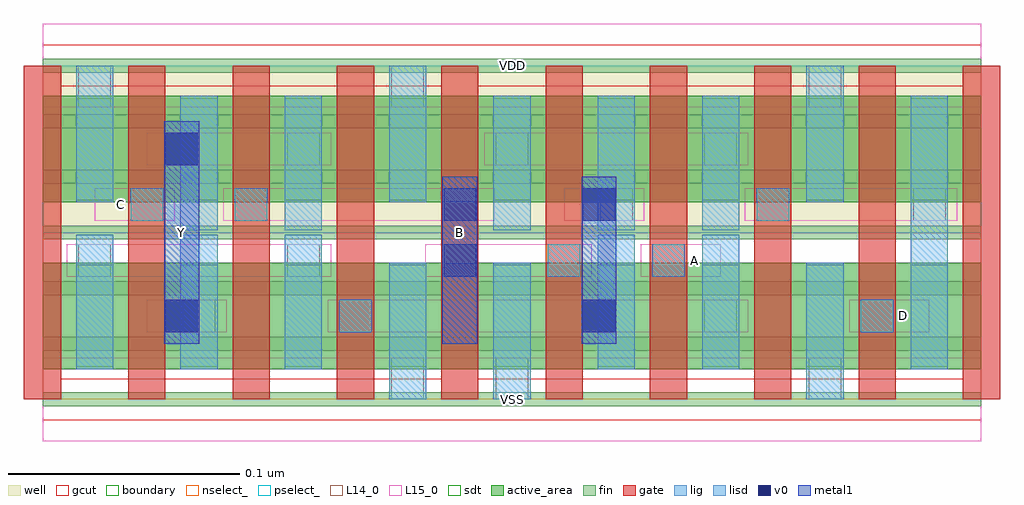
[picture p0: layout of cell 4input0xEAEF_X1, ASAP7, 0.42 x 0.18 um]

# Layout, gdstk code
import gdstk
lib = gdstk.Library(unit=1e-6, precision=2.5e-10)
def R(c, l, rs):  # rectangles x0, y0, x1, y1
    for r in rs: c.add(gdstk.rectangle(r[:2], r[2:], *l))
def A(c, l, x, y, w, h, nx, ny, dx, dy):  # array of equal rectangles
    R(c, l, [(x+i*dx, y+j*dy, x+i*dx+w, y+j*dy+h) for i in range(nx) for j in range(ny)])
def P(c, l, *ps):  # polygons
    for p in ps: c.add(gdstk.Polygon(p, *l))
well = (1, 0)
fin = (2, 0)
gate = (7, 0)
gcut = (10, 0)
active_area = (11, 0)
nselect_ = (12, 0)
pselect_ = (13, 0)
L14_0 = (14, 0)
L15_0 = (15, 0)
lig = (16, 0)
lisd = (17, 0)
v0 = (18, 0)
metal1 = (19, 0)
sdt = (88, 0)
boundary = (100, 0)

c_4input0xeaef_x1 = lib.new_cell('4input0xEAEF_X1')
R(c_4input0xeaef_x1, well, [(0,0.072,0.405,0.144)])
A(c_4input0xeaef_x1, fin, 0, -0.003, 0.405, 0.006, 1, 7, 0, 0.024)
A(c_4input0xeaef_x1, gate, -0.008, 0, 0.016, 0.144, 10, 1, 0.045, 0)
P(c_4input0xeaef_x1, gcut, [(0,-0.009),(0,0),(-0.008,0),(-0.008,0.135),(0.008,0.135),(0.008,0.009),(0.172,0.009),(0.172,0.135),(0.188,0.135),(0.188,0.009),(0.397,0.009),(0.397,0.135),(-0.008,0.135),(-0.008,0.144),(0,0.144),(0,0.153),(0.405,0.153),(0.405,0.144),(0.413,0.144),(0.413,0),(0.405,0),(0.405,-0.009)])
R(c_4input0xeaef_x1, active_area, [(0,0.013,0.405,0.059), (0,0.085,0.405,0.131)])
R(c_4input0xeaef_x1, nselect_, [(0,0,0.405,0.072)])
R(c_4input0xeaef_x1, pselect_, [(0,0.072,0.405,0.144)])
A(c_4input0xeaef_x1, L14_0, 0.2405, 0.077, 0.014, 0.014, 3, 1, 0.0675, 0)
A(c_4input0xeaef_x1, L14_0, 0.1055, 0.101, 0.014, 0.014, 3, 1, 0.09, 0)
R(c_4input0xeaef_x1, L14_0, [(0.1505,0,0.1645,0.018), (0.1955,0,0.2095,0.018), (0.3305,0,0.3445,0.018), (0.0605,0.029,0.0745,0.043), (0.128,0.029,0.142,0.043), (0.2855,0.029,0.2995,0.043), (0.353,0.029,0.367,0.043), (0.0155,0.053,0.0295,0.067), (0.1055,0.053,0.1195,0.067), (0.218,0.053,0.232,0.067), (0.263,0.053,0.277,0.067), (0.038,0.077,0.052,0.091), (0.083,0.077,0.097,0.091), (0.0155,0.126,0.0295,0.144), (0.1505,0.126,0.1645,0.144), (0.3305,0.126,0.3445,0.144)])
R(c_4input0xeaef_x1, L15_0, [(0,-0.018,0.405,0.018), (0.045,0.029,0.0795,0.043), (0.123,0.029,0.3045,0.043), (0.348,0.029,0.3825,0.043), (0.0105,0.053,0.1245,0.067), (0.165,0.053,0.237,0.067), (0.258,0.053,0.2925,0.067), (0.0225,0.077,0.057,0.091), (0.078,0.077,0.195,0.091), (0.225,0.077,0.2595,0.091), (0.303,0.077,0.3945,0.091), (0.045,0.101,0.1245,0.115), (0.1905,0.101,0.3045,0.115), (0,0.126,0.405,0.162)])
R(c_4input0xeaef_x1, lig, [(0.128,0.029,0.142,0.043), (0.353,0.029,0.367,0.043), (0.218,0.053,0.232,0.067), (0.263,0.053,0.277,0.067), (0.038,0.077,0.052,0.091), (0.083,0.077,0.097,0.091), (0.308,0.077,0.322,0.091)])
A(c_4input0xeaef_x1, lisd, 0.0145, 0.013, 0.016, 0.058, 3, 1, 0.045, 0)
A(c_4input0xeaef_x1, lisd, 0.1945, 0.073, 0.016, 0.058, 3, 1, 0.045, 0)
R(c_4input0xeaef_x1, lisd, [(0.1495,0,0.1655,0.059), (0.1945,0,0.2105,0.059), (0.3295,0,0.3455,0.059), (0.2395,0.013,0.2555,0.071), (0.2845,0.013,0.3005,0.071), (0.3745,0.013,0.3905,0.131), (0.0595,0.073,0.0755,0.131), (0.1045,0.073,0.1205,0.131), (0.0145,0.085,0.0305,0.144), (0.1495,0.085,0.1655,0.144), (0.3295,0.085,0.3455,0.144)])
R(c_4input0xeaef_x1, v0, [(0.053,0.029,0.067,0.043), (0.233,0.029,0.247,0.043), (0.173,0.053,0.187,0.067), (0.173,0.077,0.187,0.091), (0.233,0.077,0.247,0.091), (0.053,0.101,0.067,0.115)])
R(c_4input0xeaef_x1, metal1, [(0.0525,0.024,0.0675,0.12), (0.1725,0.024,0.1875,0.096), (0.2325,0.024,0.2475,0.096)])
A(c_4input0xeaef_x1, sdt, 0.0145, 0.014, 0.016, 0.044, 9, 2, 0.045, 0.072)
R(c_4input0xeaef_x1, boundary, [(0,0,0.405,0.144)])
c_4input0xeaef_x1.add(gdstk.Label('VSS', (0.2025,0), layer=15, texttype=251))
c_4input0xeaef_x1.add(gdstk.Label('VDD', (0.2025,0.144), layer=15, texttype=251))
c_4input0xeaef_x1.add(gdstk.Label('VSS', (0.2025,0), layer=15, texttype=251))
c_4input0xeaef_x1.add(gdstk.Label('VDD', (0.2025,0.144), layer=15, texttype=251))
c_4input0xeaef_x1.add(gdstk.Label('C', (0.0338,0.084), layer=15, texttype=251))
c_4input0xeaef_x1.add(gdstk.Label('VSS', (0.2025,0), layer=15, texttype=251))
c_4input0xeaef_x1.add(gdstk.Label('VDD', (0.2025,0.144), layer=15, texttype=251))
c_4input0xeaef_x1.add(gdstk.Label('A', (0.2812,0.06), layer=15, texttype=251))
c_4input0xeaef_x1.add(gdstk.Label('VSS', (0.2025,0), layer=15, texttype=251))
c_4input0xeaef_x1.add(gdstk.Label('VDD', (0.2025,0.144), layer=15, texttype=251))
c_4input0xeaef_x1.add(gdstk.Label('D', (0.3713,0.036), layer=15, texttype=251))
c_4input0xeaef_x1.add(gdstk.Label('VSS', (0.2025,0), layer=15, texttype=251))
c_4input0xeaef_x1.add(gdstk.Label('VDD', (0.2025,0.144), layer=15, texttype=251))
c_4input0xeaef_x1.add(gdstk.Label('B', (0.18,0.072), layer=19, texttype=251))
c_4input0xeaef_x1.add(gdstk.Label('Y', (0.06,0.072), layer=19, texttype=251))
c_4input0xeaef_x1.add(gdstk.Label('VSS', (0.2025,0), layer=3, texttype=251))
c_4input0xeaef_x1.add(gdstk.Label('VSS', (0.2025,0), layer=3, texttype=251))
c_4input0xeaef_x1.add(gdstk.Label('VSS', (0.2025,0), layer=3, texttype=251))
c_4input0xeaef_x1.add(gdstk.Label('VSS', (0.2025,0), layer=3, texttype=251))
c_4input0xeaef_x1.add(gdstk.Label('VSS', (0.2025,0), layer=3, texttype=251))
c_4input0xeaef_x1.add(gdstk.Label('VDD', (0.2025,0.144), layer=1, texttype=251))
c_4input0xeaef_x1.add(gdstk.Label('VDD', (0.2025,0.144), layer=1, texttype=251))
c_4input0xeaef_x1.add(gdstk.Label('VDD', (0.2025,0.144), layer=1, texttype=251))
c_4input0xeaef_x1.add(gdstk.Label('VDD', (0.2025,0.144), layer=1, texttype=251))
c_4input0xeaef_x1.add(gdstk.Label('VDD', (0.2025,0.144), layer=1, texttype=251))

lib.write_gds('4input0xEAEF_X1.gds')
